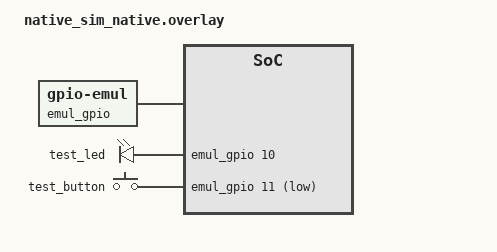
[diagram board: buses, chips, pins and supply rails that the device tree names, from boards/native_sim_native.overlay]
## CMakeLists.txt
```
cmake_minimum_required(VERSION 3.20)
find_package(Zephyr REQUIRED HINTS $ENV{ZEPHYR_BASE})
project(pytest_advanced)

target_sources(app PRIVATE
    src/main.c
)
```

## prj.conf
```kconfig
CONFIG_GPIO=y
CONFIG_PRINTK=y
# No GPIO_EMUL or SHELL here. Both belong to the test build only, in
# tests/shell_pytest/prj.conf.
```

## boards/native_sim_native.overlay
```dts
/ {
    /* An emulated GPIO controller, so the app runs on native_sim with no real pins. */
    emul_gpio: gpio_emul {
        compatible = "zephyr,gpio-emul";
        status = "okay";
        gpio-controller;
        #gpio-cells = <2>;
        ngpios = <32>;
        interrupt-controller;
        #interrupt-cells = <2>;
        rising-edge;
        falling-edge;
        high-level;
        low-level;
    };

    leds {
        compatible = "gpio-leds";
        test_led: led_0 {
            gpios = <&emul_gpio 10 GPIO_ACTIVE_HIGH>;
        };
    };

    buttons {
        compatible = "gpio-keys";
        test_button: btn_0 {
            gpios = <&emul_gpio 11 (GPIO_PULL_UP | GPIO_ACTIVE_LOW)>;
            zephyr,code = <0x01>;  /* INPUT_KEY_ESC; the app reads the pin, not input events */
        };
    };

    aliases {
        led0 = &test_led;
        sw0 = &test_button;
    };
};
```

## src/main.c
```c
// Same app as apps/04-shell-pytest plus a press counter, with state exposed
// through app_state.h. No shell commands here; the backdoor is test-build only.

#include <zephyr/kernel.h>
#include <zephyr/device.h>
#include <zephyr/drivers/gpio.h>
#include <zephyr/sys/printk.h>

#include "app_state.h"

#define BUTTON_NODE DT_ALIAS(sw0)
static const struct gpio_dt_spec button = GPIO_DT_SPEC_GET(BUTTON_NODE, gpios);

#define LED0_NODE DT_ALIAS(led0)
static const struct gpio_dt_spec led = GPIO_DT_SPEC_GET(LED0_NODE, gpios);

static struct gpio_callback button_cb_data;

static bool led_state;
static uint32_t press_count;

bool app_led_state(void)
{
    return led_state;
}

uint32_t app_press_count(void)
{
    return press_count;
}

void app_press_count_reset(void)
{
    press_count = 0;
}

void button_pressed_cb(const struct device *dev, struct gpio_callback *cb, uint32_t pins)
{
    ARG_UNUSED(dev);
    ARG_UNUSED(cb);
    ARG_UNUSED(pins);

    gpio_pin_toggle_dt(&led);
    led_state = !led_state;
    press_count++;

    printk("Button pressed! LED is now %s\n", led_state ? "ON" : "OFF");
}

int main(void)
{
    int ret;

    printk("GPIO Button + LED Toggle started\n");

    if (!device_is_ready(button.port)) {
        printk("Error: button device %s is not ready\n", button.port->name);
        return 0;
    }

    if (led.port == NULL || !device_is_ready(led.port)) {
        printk("Error: LED device is not ready\n");
        return 0;
    }

    ret = gpio_pin_configure_dt(&led, GPIO_OUTPUT_INACTIVE);
    if (ret != 0) {
        printk("Error %d: failed to configure LED\n", ret);
        return 0;
    }

    ret = gpio_pin_configure_dt(&button, GPIO_INPUT);
    if (ret != 0) {
        printk("Error %d: failed to configure button\n", ret);
        return 0;
    }

    ret = gpio_pin_interrupt_configure_dt(&button, GPIO_INT_EDGE_TO_ACTIVE);
    if (ret != 0) {
        printk("Error %d: failed to configure interrupt\n", ret);
        return 0;
    }

    gpio_init_callback(&button_cb_data, button_pressed_cb, BIT(button.pin));
    ret = gpio_add_callback(button.port, &button_cb_data);
    if (ret != 0) {
        printk("Error %d: failed to add callback\n", ret);
        return 0;
    }

    printk("Ready. Press the button to toggle LED.\n");

    while (1) {
        k_sleep(K_FOREVER);
    }
    return 0;
}
```

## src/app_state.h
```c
// Read-only view of app state for the test backdoor, so tests can query state
// without the app adding printk()s just for them. Only
// tests/shell_pytest/test_harness.c turns these into shell commands.

#ifndef APP_STATE_H_
#define APP_STATE_H_

#include <stdbool.h>
#include <stdint.h>

/** Current LED state, as the app believes it to be. */
bool app_led_state(void);

/** How many button presses the app has handled since boot. */
uint32_t app_press_count(void);

/** Reset the press counter. Lets a test start from a known point without a
 *  reboot, which costs seconds on a real board. */
void app_press_count_reset(void);

#endif /* APP_STATE_H_ */
```
